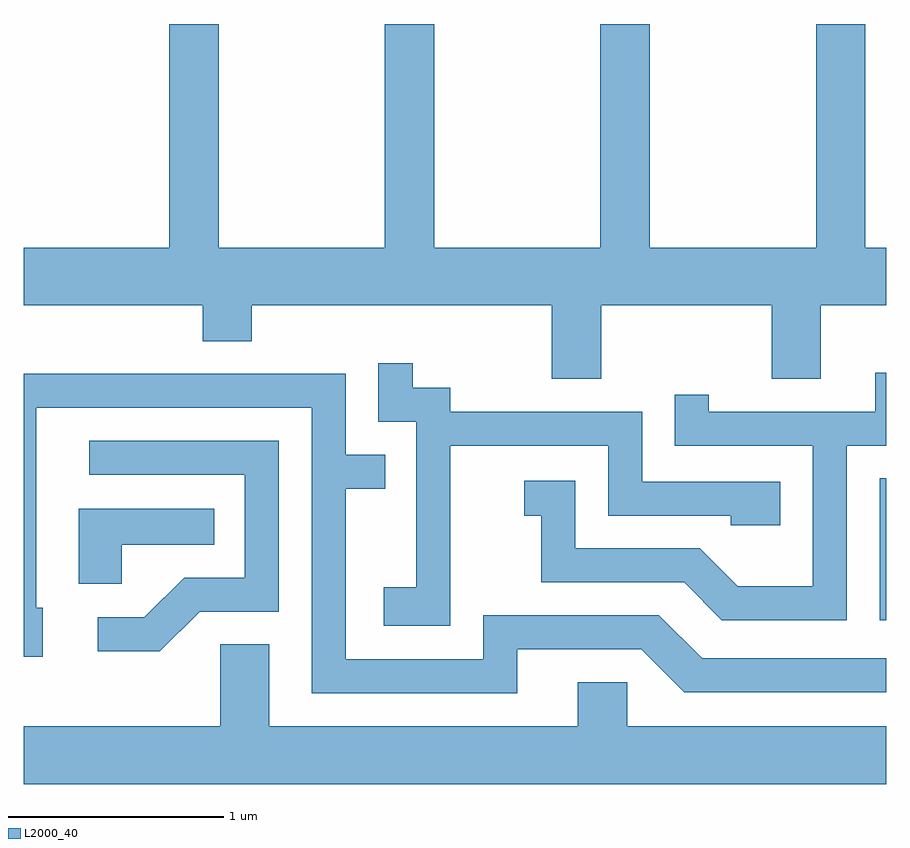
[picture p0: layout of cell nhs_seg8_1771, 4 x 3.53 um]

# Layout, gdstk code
import gdstk
lib = gdstk.Library(unit=1e-6, precision=1e-09)
def R(c, l, rs):  # rectangles x0, y0, x1, y1
    for r in rs: c.add(gdstk.rectangle(r[:2], r[2:], *l))
def P(c, l, *ps):  # polygons
    for p in ps: c.add(gdstk.Polygon(p, *l))
L2000_40 = (2000, 40)

nhs_seg8_1771 = lib.new_cell('nhs_seg8_1771')
R(nhs_seg8_1771, L2000_40, [(241.581,1881.576,241.611,1882.234)])
P(nhs_seg8_1771, L2000_40, [(240.289,1883.036),(241.081,1883.036),(241.081,1882.696),(241.309,1882.696),(241.309,1883.036),(241.611,1883.036),(241.611,1883.304),(241.514,1883.304),(241.514,1884.342),(241.286,1884.342),(241.286,1883.304),(240.514,1883.304),(240.514,1884.342),(240.286,1884.342),(240.286,1883.304),(239.514,1883.304),(239.514,1884.342),(239.286,1884.342),(239.286,1883.304),(238.514,1883.304),(238.514,1884.342),(238.286,1884.342),(238.286,1883.304),(237.611,1883.304),(237.611,1883.036),(238.441,1883.036),(238.441,1882.871),(238.669,1882.871),(238.669,1883.036),(240.061,1883.036),(240.061,1882.696),(240.289,1882.696)],
  [(239.589,1882.386),(240.321,1882.386),(240.321,1882.061),(240.891,1882.061),(240.891,1882.016),(241.119,1882.016),(241.119,1882.219),(240.479,1882.219),(240.479,1882.544),(239.589,1882.544),(239.589,1882.654),(239.414,1882.654),(239.414,1882.768),(239.256,1882.768),(239.256,1882.496),(239.431,1882.496),(239.431,1881.729),(239.281,1881.729),(239.281,1881.551),(239.589,1881.551)],
  [(241.429,1882.386),(241.611,1882.386),(241.611,1882.723),(241.561,1882.723),(241.561,1882.544),(240.789,1882.544),(240.789,1882.623),(240.631,1882.623),(240.631,1882.386),(241.271,1882.386),(241.271,1881.734),(240.922,1881.734),(240.747,1881.909),(240.169,1881.909),(240.169,1882.224),(239.933,1882.224),(239.933,1882.061),(240.011,1882.061),(240.011,1881.751),(240.674,1881.751),(240.849,1881.576),(241.429,1881.576)],
  [(239.899,1881.441),(240.474,1881.441),(240.674,1881.241),(241.611,1881.241),(241.611,1881.399),(240.757,1881.399),(240.557,1881.599),(239.741,1881.599),(239.741,1881.394),(239.104,1881.394),(239.104,1882.186),(239.288,1882.186),(239.288,1882.344),(239.104,1882.344),(239.104,1882.719),(237.611,1882.719),(237.611,1881.406),(237.699,1881.406),(237.699,1881.634),(237.669,1881.634),(237.669,1882.561),(238.946,1882.561),(238.946,1881.236),(239.899,1881.236)],
  [(238.427,1881.616),(238.794,1881.616),(238.794,1882.409),(237.913,1882.409),(237.913,1882.251),(238.636,1882.251),(238.636,1881.774),(238.354,1881.774),(238.169,1881.589),(237.953,1881.589),(237.953,1881.431),(238.242,1881.431)],
  [(238.064,1881.926),(238.493,1881.926),(238.493,1882.094),(237.866,1882.094),(237.866,1881.746),(238.064,1881.746)],
  [(241.611,1881.084),(240.409,1881.084),(240.409,1881.289),(240.181,1881.289),(240.181,1881.084),(238.749,1881.084),(238.749,1881.464),(238.521,1881.464),(238.521,1881.084),(237.611,1881.084),(237.611,1880.816),(241.611,1880.816)])

lib.write_gds('nhs_seg8_1771.gds')
